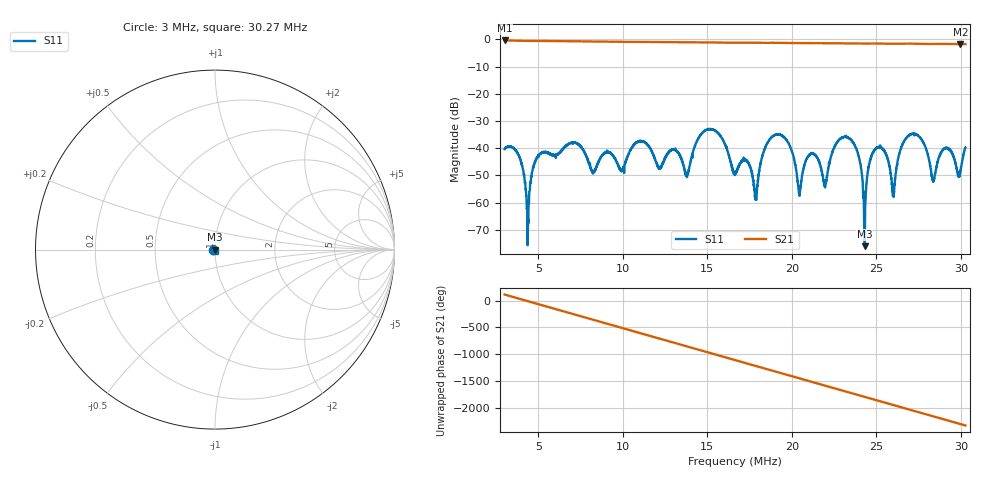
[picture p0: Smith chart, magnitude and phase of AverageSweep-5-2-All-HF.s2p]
# HZ S RI R 50
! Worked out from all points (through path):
!   2727 points, 3 MHz to 30.27 MHz, reference 50 ohm
!   highest |S21| = -0.36 dB at 3.01 MHz (marker M1); lowest = -1.7 dB at 29.98 MHz (marker M2)
!   group delay of S21, straight-line fit = 247 ns
!   lowest |S11| = -76.1 dB at 24.32 MHz (marker M3), VSWR 1.00, Z = 50 - j0.0127 ohm
!   |S11| at or under -10 dB: start of sweep to end of sweep
!   S12 and S22 are empty: the file has one direction only
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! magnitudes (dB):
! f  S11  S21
! 3 MHz  -40.4  -0.4
! 3.01 MHz  -40.2  -0.4
! 4.371 MHz  -71.6  -0.5
! 5.061 MHz  -42.2  -0.5
! 7.552 MHz  -39.8  -0.7
! 12.09 MHz  -46.7  -1.0
! 15.18 MHz  -33.0  -1.1
! 16.64 MHz  -49.5  -1.2
! 17.87 MHz  -57.5  -1.2
! 19.28 MHz  -35.0  -1.2
! 20.46 MHz  -57.5  -1.3
! 21.19 MHz  -41.7  -1.3
! 21.97 MHz  -54.4  -1.4
! 23.44 MHz  -36.6  -1.4
! 24.32 MHz  -76.1  -1.5
! 24.85 MHz  -41.1  -1.5
! 25.73 MHz  -45.5  -1.6
! 26.02 MHz  -57.9  -1.6
! 27.23 MHz  -34.6  -1.5
! 28.36 MHz  -52.4  -1.6
! 29.98 MHz  -48.2  -1.7
! 30.27 MHz  -39.7  -1.7
